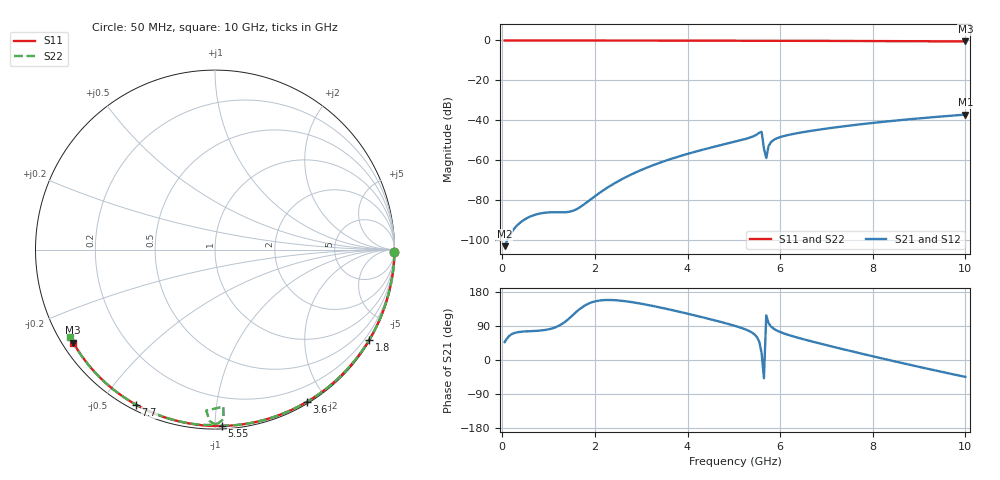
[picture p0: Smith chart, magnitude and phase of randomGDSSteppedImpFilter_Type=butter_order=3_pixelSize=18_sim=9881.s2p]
! freq	dB(S11)	phase(S11)	dB(S12)	phase(S12)
!  dB(S21)	phase(S21)	dB(S22)	phase(S22)
!S-par simulation data
#  GHz  S  DB  R 50
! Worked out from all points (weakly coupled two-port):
!   200 points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, 50 MHz to 10 GHz, reference 50 ohm
!   highest |S21| = -37.22 dB at 10 GHz (marker M1); lowest = -103.3 dB at 50 MHz (marker M2)
!   lowest |S11| = -0.5 dB at 10 GHz (marker M3), VSWR 35.15, Z = 1.55 - j14.9 ohm
!   |S11| at or under -10 dB: nowhere
!   |S22| runs from -1.1 to 0.0 dB; largest |S21 - S12| = 0
!   S11 on the Smith chart (normalised r, x): 50 MHz: open; 1.8 GHz: 0.03, -3.70; 3.6 GHz: 0.02, -1.77; 5.55 GHz: 0.02, -1.04; 7.7 GHz: 0.02, -0.61; 10 GHz: 0.03, -0.30
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0.05  -0.00 -0.9  -103.27 47.2  -103.27 47.2  -0.00 -0.9
0.9  -0.02 -15.3  -86.53 78.8  -86.53 78.8  -0.02 -15.4
1.75  -0.04 -29.4  -82.55 141.4  -82.55 141.4  -0.04 -29.7
1.8  -0.04 -30.2  -81.70 145.0  -81.70 145.0  -0.04 -30.5
1.9  -0.04 -31.9  -79.96 150.8  -79.96 150.8  -0.04 -32.2
2.3  -0.05 -38.4  -73.44 158.4  -73.44 158.4  -0.05 -38.7
2.7  -0.06 -44.8  -68.24 154.4  -68.24 154.4  -0.06 -45.2
3.4  -0.07 -55.9  -61.40 138.8  -61.40 138.8  -0.07 -56.4
3.6  -0.08 -58.9  -59.80 133.5  -59.80 133.5  -0.08 -59.5
5.05  -0.12 -80.6  -50.68 89.1  -50.68 89.1  -0.13 -81.8
5.4  -0.14 -85.6  -48.30 71.7  -48.30 71.7  -0.17 -87.7
5.55  -0.14 -87.7  -46.31 47.9  -46.31 47.9  -0.39 -91.8
5.6  -0.15 -88.5  -45.87 18.0  -45.87 18.0  -0.93 -93.1
5.65  -0.15 -89.2  -54.20 -48.1  -54.20 -48.1  -1.15 -86.9
5.7  -0.15 -89.9  -59.01 117.8  -59.01 117.8  -0.49 -87.1
5.75  -0.15 -90.6  -53.02 97.4  -53.02 97.4  -0.30 -88.8
5.85  -0.16 -92.0  -50.09 83.5  -50.09 83.5  -0.21 -91.2
6.1  -0.17 -95.4  -47.87 69.3  -47.87 69.3  -0.18 -95.5
6.7  -0.20 -103.6  -45.26 48.5  -45.26 48.5  -0.21 -104.2
7.7  -0.27 -117.0  -42.18 18.5  -42.18 18.5  -0.27 -117.9
8.35  -0.32 -125.4  -40.55 -0.1  -40.55 -0.1  -0.33 -126.6
10  -0.49 -146.7  -37.22 -44.6  -37.22 -44.6  -0.51 -149.0
